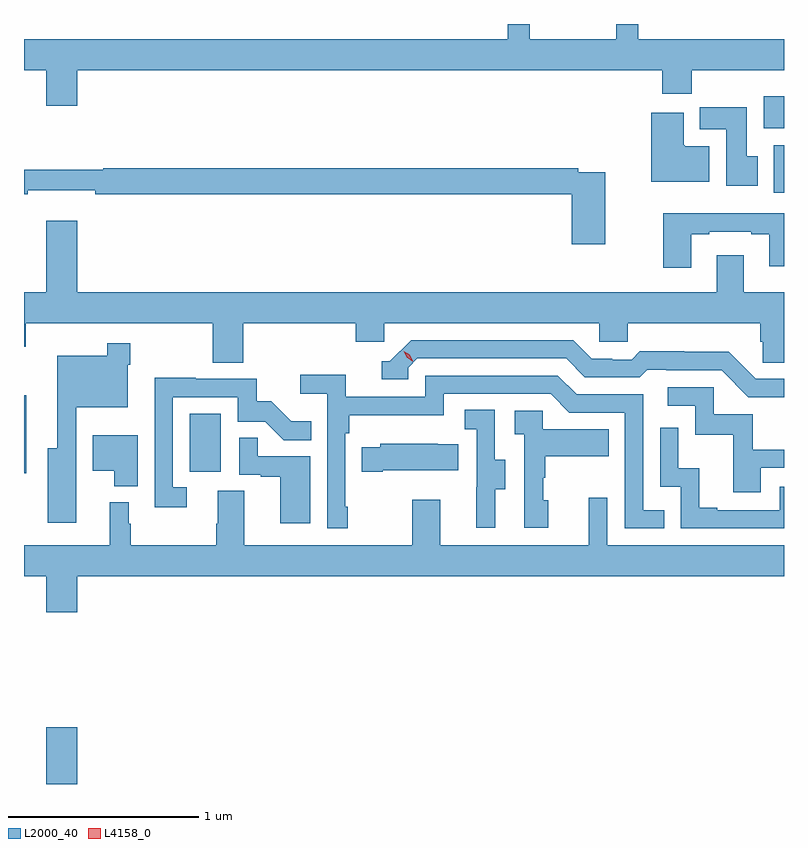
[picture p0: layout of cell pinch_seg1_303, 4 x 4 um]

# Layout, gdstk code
import gdstk
lib = gdstk.Library(unit=1e-6, precision=1e-09)
def R(c, l, rs):  # rectangles x0, y0, x1, y1
    for r in rs: c.add(gdstk.rectangle(r[:2], r[2:], *l))
def P(c, l, *ps):  # polygons
    for p in ps: c.add(gdstk.Polygon(p, *l))
L2000_40 = (2000, 40)
L4158_0 = (4158, 0)

pinch_seg1_303 = lib.new_cell('pinch_seg1_303')
R(pinch_seg1_303, L2000_40, [(932.24,541.315,932.404,541.615), (932.124,542.951,932.137,543.361), (932.996,542.958,933.16,543.265), (936.071,544.428,936.124,544.678), (936.017,544.766,936.124,544.936)])
P(pinch_seg1_303, L2000_40, [(932.404,545.072),(935.483,545.072),(935.483,544.948),(935.639,544.948),(935.639,545.072),(936.124,545.072),(936.124,545.236),(935.357,545.236),(935.357,545.315),(935.24,545.315),(935.24,545.236),(934.787,545.236),(934.787,545.315),(934.669,545.315),(934.669,545.236),(932.124,545.236),(932.124,545.072),(932.24,545.072),(932.24,544.884),(932.404,544.884)],
  [(935.986,544.62),(935.929,544.62),(935.929,544.878),(935.681,544.878),(935.681,544.76),(935.819,544.76),(935.819,544.464),(935.986,544.464)],
  [(935.731,544.672),(935.602,544.672),(935.602,544.678),(935.596,544.678),(935.596,544.849),(935.426,544.849),(935.426,544.484),(935.731,544.484)],
  [(935.184,544.536),(935.042,544.536),(935.042,544.556),(932.542,544.556),(932.542,544.549),(932.124,544.549),(932.124,544.42),(932.144,544.42),(932.144,544.439),(932.5,544.439),(932.5,544.42),(935.006,544.42),(935.006,544.155),(935.184,544.155)],
  [(935.635,544.209),(935.731,544.209),(935.731,544.221),(935.951,544.221),(935.951,544.209),(936.047,544.209),(936.047,544.04),(936.124,544.04),(936.124,544.318),(935.488,544.318),(935.488,544.032),(935.635,544.032)],
  [(933.278,543.74),(933.869,543.74),(933.869,543.642),(934.02,543.642),(934.02,543.74),(935.151,543.74),(935.151,543.642),(935.301,543.642),(935.301,543.74),(935.999,543.74),(935.999,543.642),(936.013,543.642),(936.013,543.532),(936.124,543.532),(936.124,543.904),(935.911,543.904),(935.911,544.099),(935.771,544.099),(935.771,543.904),(932.404,543.904),(932.404,544.279),(932.24,544.279),(932.24,543.904),(932.124,543.904),(932.124,543.617),(932.134,543.617),(932.134,543.74),(933.118,543.74),(933.118,543.532),(933.278,543.532)],
  [(936.124,543.447),(935.976,543.447),(935.834,543.589),(935.598,543.589),(935.598,543.592),(935.365,543.592),(935.323,543.549),(935.22,543.549),(935.22,543.552),(935.113,543.552),(935.014,543.651),(934.161,543.651),(934.05,543.54),(934.007,543.54),(934.007,543.444),(934.146,543.444),(934.146,543.507),(934.194,543.555),(934.977,543.555),(935.076,543.456),(935.365,543.456),(935.404,543.495),(935.503,543.495),(935.503,543.492),(935.796,543.492),(935.937,543.351),(936.124,543.351)],
  [(932.398,543.299),(932.67,543.299),(932.67,543.521),(932.683,543.521),(932.683,543.634),(932.562,543.634),(932.562,543.568),(932.3,543.568),(932.3,543.082),(932.249,543.082),(932.249,542.69),(932.398,542.69)],
  [(933.829,542.773),(933.816,542.773),(933.816,543.161),(933.836,543.161),(933.836,543.257),(934.332,543.257),(934.332,543.369),(934.896,543.369),(934.995,543.27),(935.286,543.27),(935.286,542.661),(935.495,542.661),(935.495,542.757),(935.382,542.757),(935.382,543.366),(935.032,543.366),(934.933,543.465),(934.236,543.465),(934.236,543.354),(933.818,543.354),(933.818,543.47),(933.579,543.47),(933.579,543.368),(933.72,543.368),(933.72,542.661),(933.829,542.661)],
  [(932.98,542.877),(932.907,542.877),(932.907,543.351),(933.249,543.351),(933.249,543.222),(933.393,543.222),(933.491,543.124),(933.635,543.124),(933.635,543.223),(933.531,543.223),(933.424,543.33),(933.348,543.33),(933.348,543.447),(933.029,543.447),(933.029,543.452),(932.811,543.452),(932.811,542.772),(932.98,542.772)],
  [(936.001,542.979),(936.124,542.979),(936.124,543.075),(935.959,543.075),(935.959,543.261),(935.754,543.261),(935.754,543.402),(935.511,543.402),(935.511,543.306),(935.658,543.306),(935.658,543.153),(935.857,543.153),(935.857,542.85),(936.001,542.85)],
  [(934.603,542.866),(934.657,542.866),(934.657,543.021),(934.602,543.021),(934.602,543.284),(934.443,543.284),(934.443,543.181),(934.506,543.181),(934.506,542.877),(934.505,542.877),(934.505,542.664),(934.603,542.664)],
  [(934.882,542.808),(934.857,542.808),(934.857,542.927),(934.867,542.927),(934.867,543.041),(935.201,543.041),(935.201,543.181),(934.854,543.181),(934.854,543.279),(934.707,543.279),(934.707,543.155),(934.758,543.155),(934.758,542.664),(934.882,542.664)],
  [(936.124,542.88),(936.102,542.88),(936.102,542.757),(935.773,542.757),(935.773,542.77),(935.678,542.77),(935.678,542.978),(935.568,542.978),(935.568,543.19),(935.472,543.19),(935.472,542.88),(935.58,542.88),(935.58,542.661),(936.124,542.661)],
  [(932.722,543.151),(932.486,543.151),(932.486,542.963),(932.6,542.963),(932.6,542.882),(932.722,542.882)],
  [(933.631,543.039),(933.353,543.039),(933.353,543.137),(933.258,543.137),(933.258,542.943),(933.369,542.943),(933.369,542.931),(933.473,542.931),(933.473,542.688),(933.631,542.688)],
  [(934.012,542.966),(934.409,542.966),(934.409,543.103),(934.301,543.103),(934.301,543.106),(933.999,543.106),(933.999,543.088),(933.901,543.088),(933.901,542.959),(934.012,542.959)],
  [(932.404,542.408),(936.124,542.408),(936.124,542.572),(935.193,542.572),(935.193,542.821),(935.096,542.821),(935.096,542.572),(934.315,542.572),(934.315,542.812),(934.168,542.812),(934.168,542.572),(933.283,542.572),(933.283,542.858),(933.143,542.858),(933.143,542.684),(933.136,542.684),(933.136,542.572),(932.686,542.572),(932.686,542.684),(932.674,542.684),(932.674,542.797),(932.576,542.797),(932.576,542.572),(932.124,542.572),(932.124,542.408),(932.24,542.408),(932.24,542.22),(932.404,542.22)])
P(pinch_seg1_303, L4158_0, [(934.168,543.54),(934.138,543.56),(934.123,543.593),(934.123,543.593),(934.123,543.593),(934.153,543.573),(934.169,543.54),(934.169,543.54)])

lib.write_gds('pinch_seg1_303.gds')
